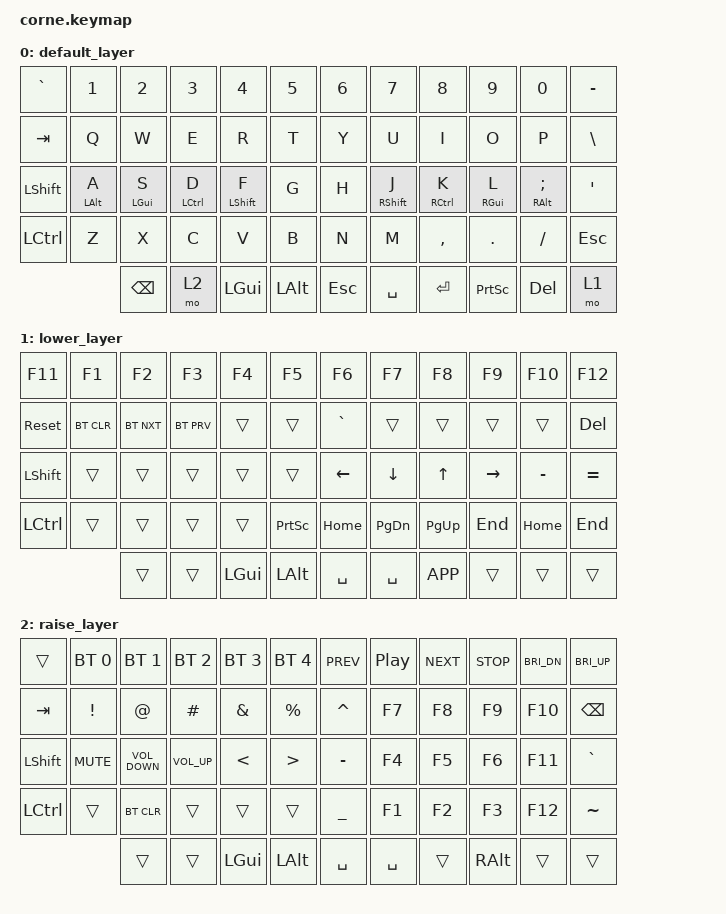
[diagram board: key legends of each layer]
/*
 * Copyright (c) 2020 The ZMK Contributors
 *
 * SPDX-License-Identifier: MIT
 */

#include <behaviors.dtsi>
#include <dt-bindings/zmk/keys.h>
#include <dt-bindings/zmk/bt.h>

/ {
    combos {
        compatible = "zmk,combos";

        OpenParenthesis {
            bindings = <&kp LEFT_PARENTHESIS>;
            key-positions = <18 19>;
        };

        OpenBrace {
            bindings = <&kp LEFT_BRACE>;
            key-positions = <30 31>;
        };

        OpenBracket {
            bindings = <&kp LEFT_BRACKET>;
            key-positions = <42 43>;
        };

        CloseParenthasis {
            bindings = <&kp RIGHT_PARENTHESIS>;
            key-positions = <20 19>;
        };

        CloseBrace {
            bindings = <&kp RIGHT_BRACE>;
            key-positions = <31 32>;
        };

        CloseBracket {
            bindings = <&kp RIGHT_BRACKET>;
            key-positions = <43 44>;
        };

        BootloaderLeft {
            bindings = <&bootloader>;
            key-positions = <49 50>;
            require-prior-idle-ms = <2000>;
        };

        BootloaderRight {
            bindings = <&bootloader>;
            key-positions = <56 57>;
            require-prior-idle-ms = <2000>;
        };
    };

    behaviors {
        hm: homerow_mods {
            compatible = "zmk,behavior-hold-tap";
            #binding-cells = <2>;
            tapping-term-ms = <330>;
            quick-tap-ms = <300>;
            flavor = "tap-preferred";
            bindings = <&kp>, <&kp>;
        };

        hmp: homerow_mods_pinky {
            compatible = "zmk,behavior-hold-tap";
            #binding-cells = <2>;
            tapping-term-ms = <500>;
            quick-tap-ms = <300>;
            flavor = "tap-preferred";
            bindings = <&kp>, <&kp>;
        };
    };

    keymap {
        compatible = "zmk,keymap";

        default_layer {
            // -----------------------------------------------------------------------------------------
            // |  `   |  1  |  2  |  3  |  4  |  5  |   |  6  |  7   |  8  |  9  |  0  | - _  |
            // |  TAB |  Q  |  W  |  E  |  R  |  T  |   |  Y  |  U   |  I  |  O  |  P  | | \  |
            // | SHFT | ALT | GUI | CTL | SFT |  G  |   |  H  | SFT  | CTL | GUI | ALT | ' "  |
            //homerow |  A  |  S  |  D  |  F  |     |   |     |  J   |  K  |  L  |  ;  |
            // | CTRL |  Z  |  X  |  C  |  V  |  B  |   |  N  |  M   |  ,  |  .  |  /  | ESC  |
            //              | BKSP | L2  | GUI | ALT | ESC |   | SPC | ENT | PSCRN | DEL | L1 |

            bindings = <
&kp GRAVE  &kp N1    &kp N2   &kp N3   &kp N4    &kp N5       &kp N6    &kp N7    &kp N8     &kp N9   &kp N0    &kp MINUS
&kp TAB    &kp Q     &kp W    &kp E    &kp R     &kp T        &kp Y     &kp U     &kp I      &kp O    &kp P     &kp BSLH
&kp LEFT_SHIFT  &hmp LALT A   &hm LGUI S &hm LCTRL D  &hm LSHIFT F  &kp G      &kp H      &hm RSHIFT J &hm RCTRL K &hm RGUI L &hmp RALT SEMI   &kp SQT
&kp LCTRL  &kp Z     &kp X    &kp C    &kp V     &kp B        &kp N     &kp M     &kp COMMA  &kp DOT  &kp FSLH  &kp ESC
                     &kp BSPC &mo 2    &kp LGUI  &kp LALT &kp ESC   &kp SPACE &kp RET &kp PSCRN &kp DEL &mo 1
            >;
        };

        lower_layer {
            // -----------------------------------------------------------------------------------------
            // | F11  | F1  | F2  | F3  | F4  | F5  |   | F6  |  F7 |  F8 |  F9 | F10 | F12 |
            // | SYSR |BT_CLR|BT_NXT|BT_PRV|     |     |   |  `  |     |     |     |     | DEL |
            // | SHFT |      |      |      |     |     |   | LEFT| DOWN|  UP | RGT |  -  |  =  |
            // | CTRL |      |      |      |     |PSCRN|   |     | PGDN| PGUP|     | HOME| END |
            //              |     |     | GUI | ALT | SPC |   | SPC |MENU |     |     |     |

            bindings = <
&kp F11        &kp F1     &kp F2     &kp F3        &kp F4     &kp F5       &kp F6     &kp F7    &kp F8    &kp F9     &kp F10    &kp F12
&sys_reset     &bt BT_CLR &bt BT_NXT &bt BT_PRV    &trans     &trans       &kp GRAVE  &trans    &trans    &trans     &trans     &kp DEL
&kp LEFT_SHIFT &trans     &trans     &trans        &trans     &trans       &kp LEFT   &kp DOWN  &kp UP    &kp RIGHT  &kp MINUS  &kp EQUAL
&kp LCTRL      &trans     &trans     &trans        &trans     &kp PSCRN    &kp HOME   &kp PG_DN &kp PG_UP &kp END    &kp HOME   &kp END
               &trans     &trans     &kp LGUI      &kp LEFT_ALT &kp SPACE  &kp SPACE  &kp K_APP &trans    &trans     &trans
            >;
        };

        raise_layer {
            // -----------------------------------------------------------------------------------------
            // |      | BT0 | BT1 | BT2 | BT3 | BT4 |   |PREV | PP  |NEXT |STOP |BRI- |BRI+  |
            // |  TAB |  !  |  @  |  #  |  &  |  %  |   |  ^  | F7  | F8  | F9  | F10 | BSPC |
            // | SHFT |MUTE |V_DN |V_UP |  <  |  >  |   |  -  | F4  | F5  | F6  | F11 |  `   |
            // | CTRL |     |BT_CLR|    |     |     |   |  _  | F1  | F2  | F3  | F12 |  ~   |
            //              |     |     | GUI | ALT | SPC |   | SPC |     | ALT |     |     |

            bindings = <
&trans          &bt BT_SEL 0 &bt BT_SEL 1       &bt BT_SEL 2     &bt BT_SEL 3   &bt BT_SEL 4        &kp C_PREV   &kp C_PP     &kp C_NEXT    &kp C_STOP    &kp C_BRI_DN &kp C_BRI_UP
&kp TAB         &kp EXCL     &kp AT             &kp HASH         &kp AMPERSAND  &kp PRCNT           &kp CARET  &kp F7    &kp F8    &kp F9    &kp F10   &kp BSPC
&kp LEFT_SHIFT  &kp C_MUTE   &kp C_VOLUME_DOWN  &kp C_VOLUME_UP  &kp LESS_THAN  &kp GREATER_THAN    &kp MINUS  &kp F4    &kp F5    &kp F6    &kp F11   &kp GRAVE
&kp LCTRL       &trans       &bt BT_CLR         &trans           &trans         &trans              &kp UNDER  &kp F1    &kp F2    &kp F3    &kp F12   &kp TILDE
                &trans       &trans             &kp LGUI         &kp LEFT_ALT   &kp SPACE           &kp SPACE  &trans    &kp RALT  &trans    &trans
            >;
        };
    };
};


//For new Layers
    // -----------------------------------------------------------------------------------------
    // |      |     |     |     |     |     |   |     |     |     |     |     |      |
    // |      |     |     |     |     |     |   |     |     |     |     |     |      |
    // |      |     |     |     |     |     |   |     |     |     |     |     |      |
    // |      |     |     |     |     |     |   |     |     |     |     |     |      |
    //              |     |     |     |     |     |   |     |     |     |     |     |
